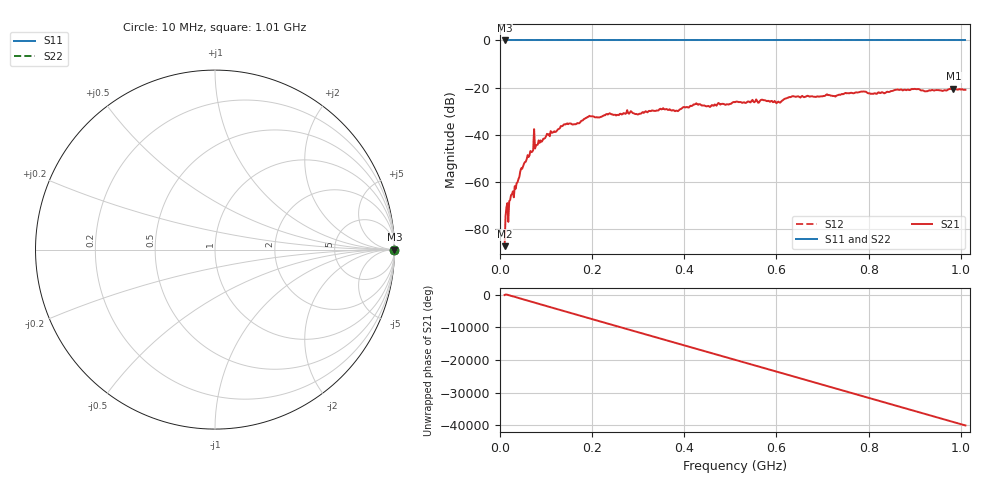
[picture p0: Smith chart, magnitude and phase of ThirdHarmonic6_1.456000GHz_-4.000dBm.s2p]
! 8/16/2025 4:54:07 PM
! C:\ANRITSUVNA\TEMP\TEMP.S2P
! CHANNEL.1
! TR.MEASUREMENT
! RAW.DATA
! RF.CORRECTION.OFF
! AVERAGING.OFF
! IF.BANDWIDTH: 5KHZ
! SWEEPTYPE:  FREQ.SWEEP(Linear)
! Reference Plane Port Info
! PORT:  PORT1  PORT2
! DISTANCE:  0  m  0  m
! TIME:  0  s  0  s
! PHASE.OFFSET:  0  deg.  0  deg.
! LOSS:  0  dB  0  dB
! REF.LOSS:  0  dB  0  dB
! REF.FREQ:  0  Hz  0  Hz
! Power Info
! POWER:  -20  dBm  -20  dBm
! EFF.POWER:  -20  dBm  -20  dBm
! SOURCE.ATTEN:  0  dB  0  dB
! TEST.ATTEN:  0  dB  0  dB
# GHZ S RI R 50.0
! FREQ.GHZ  S11RE  S11IM  S21RE  S21IM  S12RE  S12IM  S22RE  S22IM
!; PortSelection: Port_12
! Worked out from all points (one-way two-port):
!   501 points, 10 MHz to 1.01 GHz, reference 50 ohm
!   highest |S21| = -20.46 dB at 984 MHz (marker M1); lowest = -87.2 dB at 10 MHz (marker M2)
!   lowest |S11| = 0.0 dB at 10 MHz (marker M3)
!   |S11| at or under -10 dB: nowhere
!   |S22| runs from 0.0 to 0.0 dB; largest |S21 - S12| = 1.1
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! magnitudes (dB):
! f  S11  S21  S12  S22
! 10 MHz  0.0  -87.2  0.0  0.0
! 16 MHz  0.0  -69.0  0.0  0.0
! 22 MHz  0.0  -67.7  0.0  0.0
! 24 MHz  0.0  -65.6  0.0  0.0
! 34 MHz  0.0  -62.9  0.0  0.0
! 48 MHz  0.0  -54.5  0.0  0.0
! 68 MHz  0.0  -47.4  0.0  0.0
! 70 MHz  0.0  -47.2  0.0  0.0
! 136 MHz  0.0  -36.3  0.0  0.0
! 178 MHz  0.0  -34.0  0.0  0.0
! 194 MHz  0.0  -32.0  0.0  0.0
! 344 MHz  0.0  -29.7  0.0  0.0
! 384 MHz  0.0  -29.8  0.0  0.0
! 424 MHz  0.0  -27.0  0.0  0.0
! 452 MHz  0.0  -27.7  0.0  0.0
! 510 MHz  0.0  -26.2  0.0  0.0
! 604 MHz  0.0  -25.9  0.0  0.0
! 632 MHz  0.0  -23.9  0.0  0.0
! 678 MHz  0.0  -23.7  0.0  0.0
! 844 MHz  0.0  -21.9  0.0  0.0
! 984 MHz  0.0  -20.5  0.0  0.0
! 1.01 GHz  0.0  -20.9  0.0  0.0
